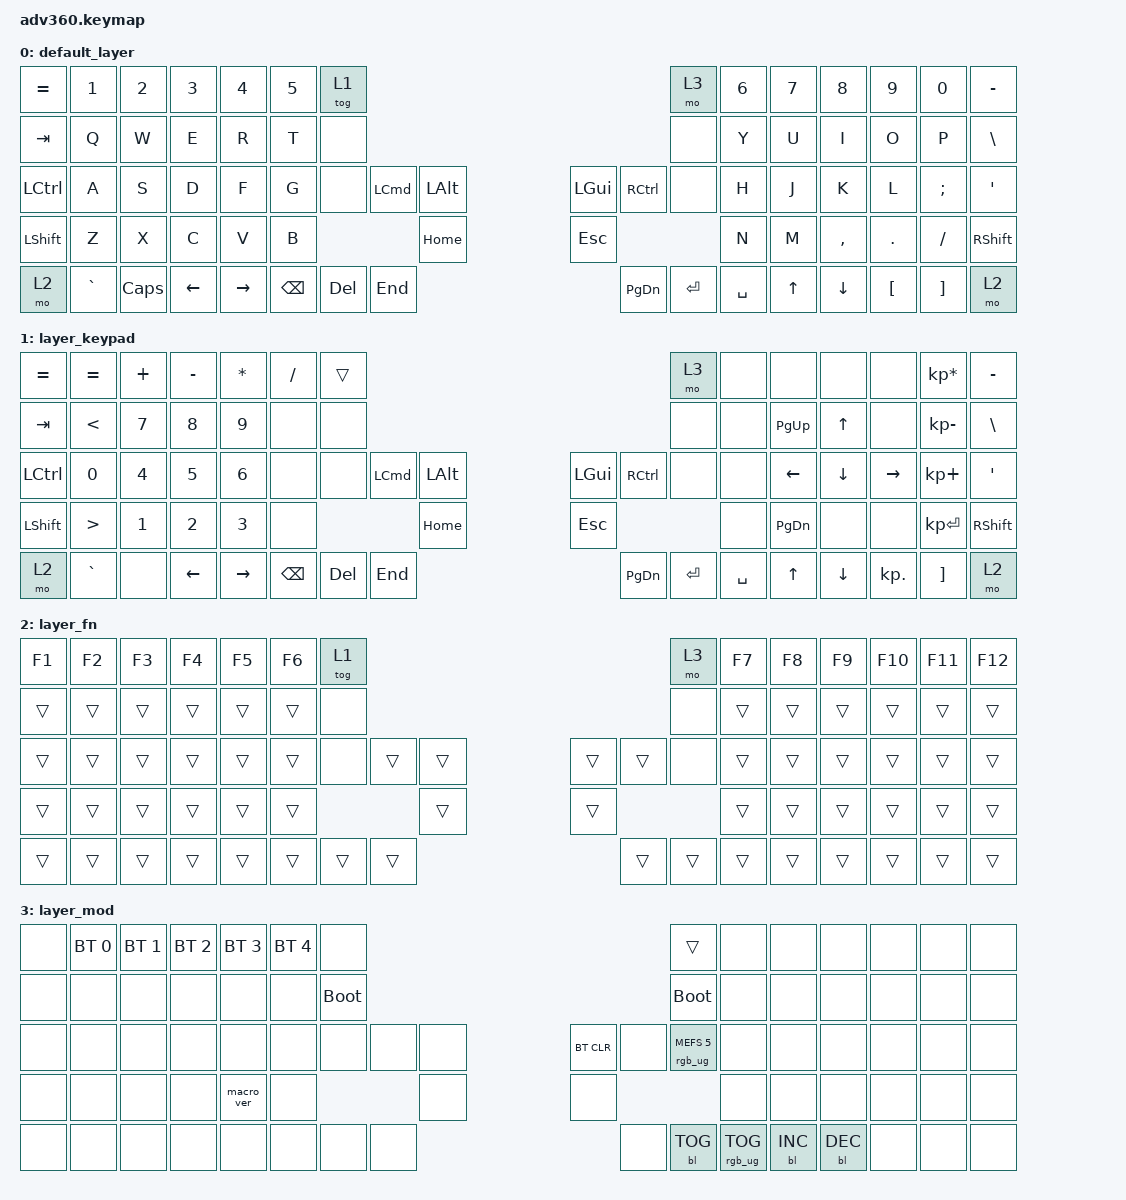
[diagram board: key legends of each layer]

/*
 * Copyright (c) 2020 The ZMK Contributors
 *
 * SPDX-License-Identifier: MIT
 */


/* THIS FILE WAS GENERATED!
 *
 * This file was generated automatically. You may or may not want to
 * edit it directly.
 */

#include <behaviors.dtsi>
#include <dt-bindings/zmk/keys.h>
#include <dt-bindings/zmk/bt.h>
#include <dt-bindings/zmk/rgb.h>
#include <dt-bindings/zmk/backlight.h>

/ {
  behaviors {
    #include "macros.dtsi"
    #include "version.dtsi"

    hm: homerow_mods {
        compatible = "zmk,behavior-hold-tap";
        label = "HOMEROW_MODS";
        #binding-cells = <2>;
        tapping-term-ms = <200>;
        quick_tap_ms = <175>;
        flavor = "tap-preferred";
        bindings = <&kp>, <&kp>;
    };
  };

    keymap {
        compatible = "zmk,keymap";


        default_layer {
            bindings = <
 &kp EQUAL     &kp N1    &kp N2    &kp N3     &kp N4  &kp N5              &tog 1                                                                &mo 3  &kp N6  &kp N7     &kp N8    &kp N9    &kp N0  &kp MINUS
   &kp TAB      &kp Q     &kp W     &kp E      &kp R   &kp T               &none                                                                &none   &kp Y   &kp U      &kp I     &kp O     &kp P   &kp BSLH
 &kp LCTRL      &kp A     &kp S     &kp D      &kp F   &kp G               &none  &kp LCMD  &kp LALT                   &kp LGUI  &kp RCTRL      &none   &kp H   &kp J      &kp K     &kp L  &kp SEMI    &kp SQT
 &kp LSHFT      &kp Z     &kp X     &kp C      &kp V   &kp B                                &kp HOME                    &kp ESC                         &kp N   &kp M  &kp COMMA   &kp DOT  &kp FSLH  &kp RSHFT
     &mo 2  &kp GRAVE  &kp CAPS  &kp LEFT  &kp RIGHT                    &kp BSPC   &kp DEL   &kp END                  &kp PG_DN  &kp ENTER  &kp SPACE          &kp UP   &kp DOWN  &kp LBKT  &kp RBKT      &mo 2
            >;
        };

        layer_keypad {
            bindings = <
 &kp EQUAL     &kp EQUAL      &kp PLUS     &kp MINUS  &kp ASTERISK  &kp SLASH              &trans                                                                &mo 3   &none           &none           &none            &none  &kp KP_MULTIPLY  &kp MINUS
   &kp TAB        &kp LT  &kp NUMBER_7  &kp NUMBER_8  &kp NUMBER_9      &none               &none                                                                &none   &none     &kp PAGE_UP    &kp UP_ARROW            &none     &kp KP_MINUS   &kp BSLH
 &kp LCTRL  &kp NUMBER_0  &kp NUMBER_4  &kp NUMBER_5  &kp NUMBER_6      &none               &none  &kp LCMD  &kp LALT                   &kp LGUI  &kp RCTRL      &none   &none  &kp LEFT_ARROW  &kp DOWN_ARROW  &kp RIGHT_ARROW      &kp KP_PLUS    &kp SQT
 &kp LSHFT        &kp GT  &kp NUMBER_1  &kp NUMBER_2  &kp NUMBER_3      &none                                &kp HOME                    &kp ESC                         &none   &kp PAGE_DOWN           &none            &none     &kp KP_ENTER  &kp RSHFT
     &mo 2     &kp GRAVE         &none      &kp LEFT     &kp RIGHT                       &kp BSPC   &kp DEL   &kp END                  &kp PG_DN  &kp ENTER  &kp SPACE                  &kp UP        &kp DOWN       &kp KP_DOT         &kp RBKT      &mo 2
            >;
        };

        layer_fn {
            bindings = <
 &kp F1  &kp F2  &kp F3  &kp F4  &kp F5  &kp F6            &tog 1                                                   &mo 3  &kp F7  &kp F8  &kp F9  &kp F10  &kp F11  &kp F12
 &trans  &trans  &trans  &trans  &trans  &trans             &none                                                   &none  &trans  &trans  &trans   &trans   &trans   &trans
 &trans  &trans  &trans  &trans  &trans  &trans             &none  &trans  &trans                  &trans  &trans   &none  &trans  &trans  &trans   &trans   &trans   &trans
 &trans  &trans  &trans  &trans  &trans  &trans                            &trans                  &trans                  &trans  &trans  &trans   &trans   &trans   &trans
 &trans  &trans  &trans  &trans  &trans                    &trans  &trans  &trans                  &trans  &trans  &trans          &trans  &trans   &trans   &trans   &trans
            >;
        };

        layer_mod {
            bindings = <
  &none  &bt BT_SEL 0  &bt BT_SEL 1  &bt BT_SEL 2  &bt BT_SEL 3  &bt BT_SEL 4                  &none                                                                          &trans   &none       &none       &none   &none   &none   &none
  &none         &none         &none         &none         &none         &none            &bootloader                                                                     &bootloader   &none       &none       &none   &none   &none   &none
  &none         &none         &none         &none         &none         &none                  &none   &none   &none                  &bt BT_CLR       &none  &rgb_ug RGB_MEFS_CMD 5   &none       &none       &none   &none   &none   &none
  &none         &none         &none         &none    &macro_ver         &none                                  &none                       &none                                       &none       &none       &none   &none   &none   &none
  &none         &none         &none         &none         &none                                &none   &none   &none                       &none  &bl BL_TOG         &rgb_ug RGB_TOG          &bl BL_INC  &bl BL_DEC   &none   &none   &none
            >;
        };

    };
};
